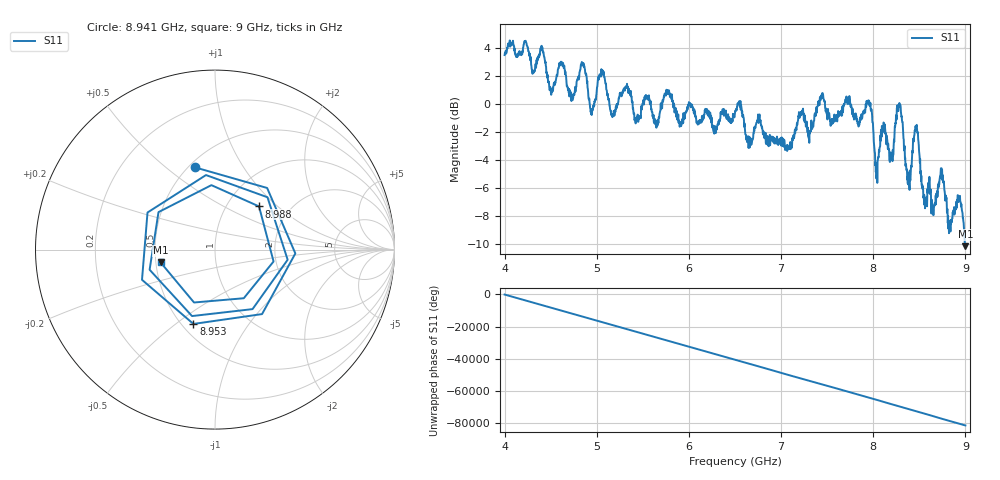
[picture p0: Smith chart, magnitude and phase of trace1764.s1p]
! Created with skrf 1.8.0 (http://scikit-rf.org).
# Hz S RI R 50.0
!freq ReS11 ImS11
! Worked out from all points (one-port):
!   1601 points, 4 GHz to 9 GHz, reference 50 ohm
!   lowest |S11| = -10.1 dB at 9 GHz (marker M1), VSWR 1.90, Z = 26.5 - j4.19 ohm
!   |S11| at or under -10 dB: 8.993767 GHz to 8.995918 GHz (2.15 MHz wide, 0.0239 % of centre); 8.997419 GHz to end of sweep
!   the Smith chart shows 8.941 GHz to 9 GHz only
!   S11 on the Smith chart (normalised r, x): 8.941 GHz: 0.54, +0.63; 8.953 GHz: 0.57, -0.58; 8.988 GHz: 1.41, +0.77; 9 GHz: 0.53, -0.08
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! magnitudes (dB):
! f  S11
! 4 GHz  3.5
! 4.406 GHz  3.9
! 4.509 GHz  0.9
! 4.625 GHz  2.9
! 4.734 GHz  0.3
! 4.853 GHz  2.8
! 4.947 GHz  -0.8
! 5.05 GHz  2.5
! 5.169 GHz  -0.9
! 5.25 GHz  0.8
! 5.875 GHz  -1.1
! 6.5 GHz  -0.6
! 7.125 GHz  -2.6
! 7.434 GHz  0.6
! 7.75 GHz  0.0
! 7.959 GHz  -0.1
! 8.041 GHz  -4.3
! 8.109 GHz  -1.5
! 8.2 GHz  -3.7
! 8.281 GHz  -0.2
! 8.375 GHz  -5.7
! 8.466 GHz  -1.6
! 8.559 GHz  -6.9
! 8.741 GHz  -4.6
! 8.941 GHz  -6.5
! 8.953 GHz  -7.3
! 8.988 GHz  -9.3
! 9 GHz  -10.1
